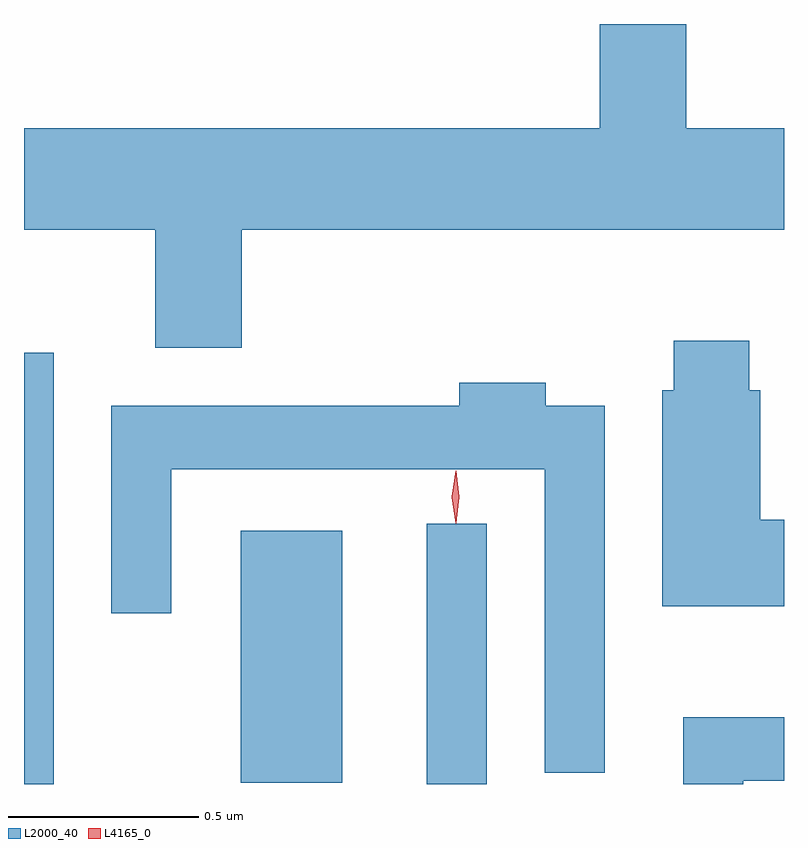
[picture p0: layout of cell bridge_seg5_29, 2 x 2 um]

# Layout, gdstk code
import gdstk
lib = gdstk.Library(unit=1e-6, precision=1e-09)
def R(c, l, rs):  # rectangles x0, y0, x1, y1
    for r in rs: c.add(gdstk.rectangle(r[:2], r[2:], *l))
def P(c, l, *ps):  # polygons
    for p in ps: c.add(gdstk.Polygon(p, *l))
L2000_40 = (2000, 40)
L4165_0 = (4165, 0)

bridge_seg5_29 = lib.new_cell('bridge_seg5_29')
R(bridge_seg5_29, L2000_40, [(1237.376,1475.318,1237.454,1476.453), (1238.436,1475.318,1238.594,1476.003), (1237.946,1475.321,1238.214,1475.984)])
P(bridge_seg5_29, L2000_40, [(1237.949,1476.776),(1239.376,1476.776),(1239.376,1477.044),(1239.119,1477.044),(1239.119,1477.318),(1238.891,1477.318),(1238.891,1477.044),(1237.376,1477.044),(1237.376,1476.776),(1237.721,1476.776),(1237.721,1476.466),(1237.949,1476.466)],
  [(1239.376,1476.014),(1239.314,1476.014),(1239.314,1476.354),(1239.284,1476.354),(1239.284,1476.484),(1239.086,1476.484),(1239.086,1476.354),(1239.056,1476.354),(1239.056,1475.786),(1239.376,1475.786)],
  [(1238.904,1476.314),(1238.749,1476.314),(1238.749,1476.374),(1238.521,1476.374),(1238.521,1476.314),(1237.606,1476.314),(1237.606,1475.768),(1237.764,1475.768),(1237.764,1476.146),(1238.746,1476.146),(1238.746,1475.348),(1238.904,1475.348)],
  [(1239.269,1475.326),(1239.376,1475.326),(1239.376,1475.494),(1239.111,1475.494),(1239.111,1475.318),(1239.269,1475.318)])
P(bridge_seg5_29, L4165_0, [(1238.512,1476.003),(1238.512,1476.004),(1238.502,1476.073),(1238.512,1476.142),(1238.512,1476.143),(1238.513,1476.142),(1238.522,1476.073),(1238.513,1476.004)],
  [(1238.512,1476.007),(1238.512,1476.007),(1238.502,1476.074),(1238.512,1476.14),(1238.512,1476.14),(1238.513,1476.14),(1238.522,1476.074),(1238.513,1476.007)])

lib.write_gds('bridge_seg5_29.gds')
